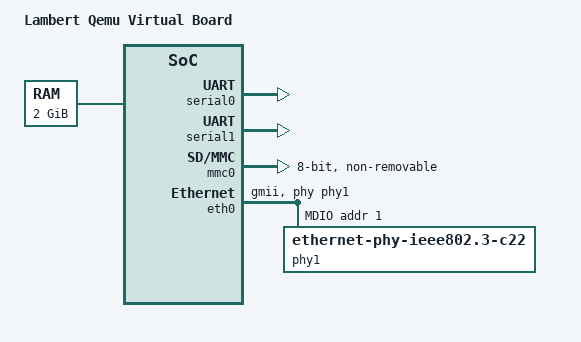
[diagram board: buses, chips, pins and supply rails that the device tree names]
/* SPDX-License-Identifier: GPL-2.0+
 *
 * Axera Lambert Qemu Virtual Platform device tree
 *
 * Copyright (C) 2023 Charleye <wangkart@aliyun.com>
 */

/dts-v1/;
#include <dt-bindings/interrupt-controller/arm-gic.h>

/ {
	model = "Lambert Qemu Virtual Board";
	compatible = "axera,lambert-virt";
	#address-cells = <2>;
	#size-cells = <2>;
	interrupt-parent = <&gic>;

	chosen {
		stdout-path = "serial0:115200n8";
	};

	memory {
		reg = <0x4 0x00000000 0x0 0x80000000>;
		device_type = "memory";
	};

	aliases {
		serial0 = &serial0;
		serial1 = &serial1;
	};

	psci {
		compatible = "arm,psci-0.2";
		method = "smc";
	};

	gic: interrupt-controller@448000 {
		compatible = "arm,gic-400";
		#interrupt-cells = <3>;
		#address-cells = <2>;
		#size-cells = <2>;
		interrupt-controller;
		reg = <0x0 0x00449000 0x0 0x1000>,
			  <0x0 0x0044a000 0x0 0x2000>;
		interrupts = <GIC_PPI 9 IRQ_TYPE_LEVEL_HIGH>;
	};

	soc {
		compatible = "simple-bus";
		#address-cells = <2>;
		#size-cells = <2>;
		ranges;

		serial0: uart@1068a000 {
			compatible = "snps,dw-apb-uart";
			reg = <0x0 0x1068a000 0x0 0x1000>;
			reg-shift = <2>;
			reg-io-width = <4>;
			interrupts = <GIC_SPI 41 IRQ_TYPE_LEVEL_HIGH>;
			clock-frequency = <192000000>; //192MHz
			u-boot,dm-pre-reloc;
			u-boot,dm-spl;
			status = "okay";
		};

		serial1: uart@1068b000 {
			compatible = "snps,dw-apb-uart";
			reg = <0x0 0x1068b000 0x0 0x1000>;
			reg-shift = <2>;
			reg-io-width = <4>;
			interrupts = <GIC_SPI 42 IRQ_TYPE_LEVEL_HIGH>;
			clock-frequency = <192000000>;
			u-boot,dm-pre-reloc;
			u-boot,dm-spl;
			status = "okay";
		};

		mmc0: mmc@10620000 {
			compatible = "ax,lambert-sdhci";
			reg = <0x0 0x10620000 0x0 0x1000>;
			interrupts = <0x0 0x9 0x4>;
			max-frequency = <200000000>;
			sdhci-caps-mask = <0xffffffff 0xffffffff>;
			sdhci-caps = <0x00000070 0x156ecc02>;
			bus-width = <8>;
			cap-mmc-highspeed;
			mmc-ddr-1_8v;
			mmc-hs200-1_8v;
			non-removable;
			no-sdio;
			no-sd;
			status = "okay";
		};

		mmc1: mmc@10621000 {
			compatible = "ax,lambert-sdhci";
			reg = <0x0 0x10621000 0x0 0x1000>;
			interrupts = <0x0 0xa 0x4>;
			max-frequency = <200000000>;
			bus-width = <8>;
			mmc-ddr-1_8v;
			mmc-hs200-1_8v;
			status = "disabled";
		};

		eth0: ethernet@60824000 {
			// clock-names = "phy_ref_clk", "apb_pclk";
			// clocks = <&clkc 17>, <&clkc 15>;
			compatible = "ax,lmt-dwmac-eqos";
			// interrupt-parent = <&intc>;
			interrupts = <0x0 0x1e 0x4>;
			reg = <0x0 0x60824000 0x0 0x4000>;
			phy-handle = <&phy1>;
			phy-mode = "gmii";
			// phy-reset-gpios = <&gpioctlr 43 GPIO_ACTIVE_LOW>;

			snps,en-tx-lpi-clockgating;
			snps,en-lpi;
			snps,write-requests = <2>;
			snps,read-requests = <16>;
			snps,burst-map = <0x7>;
			snps,txpbl = <8>;
			snps,rxpbl = <2>;

			dma-coherent;

			mdio {
				#address-cells = <0x1>;
				#size-cells = <0x0>;
				phy1: phy@1 {
					compatible = "ethernet-phy-ieee802.3-c22";
					device_type = "ethernet-phy";
					reg = <0x1>;
				};
			};
		};
	};
};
